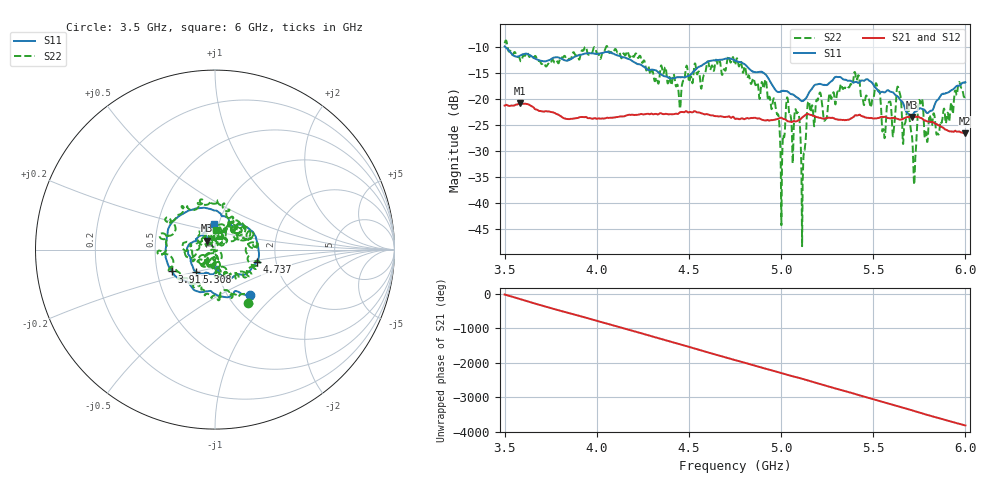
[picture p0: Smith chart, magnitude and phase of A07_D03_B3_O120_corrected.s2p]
! Created with skrf 1.9.0 (http://scikit-rf.org).
# Hz S RI R 50.0
!freq ReS11 ImS11 ReS21 ImS21 ReS12 ImS12 ReS22 ImS22
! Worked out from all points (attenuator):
!   1601 points, 3.5 GHz to 6 GHz, reference 50 ohm
!   highest |S21| = -20.82 dB at 3.584 GHz (marker M1); lowest = -26.6 dB at 5.995 GHz (marker M2)
!   lowest |S11| = -23.5 dB at 5.708 GHz (marker M3), VSWR 1.14, Z = 45.4 + j4.49 ohm
!   |S11| at or under -10 dB: 3.506 GHz to end of sweep
!   |S22| runs from -48.4 to -8.7 dB; largest |S21 - S12| = 0.001
!   S11 on the Smith chart (normalised r, x): 3.5 GHz: 1.26, -0.72; 3.917 GHz: 0.60, -0.16; 4.737 GHz: 1.58, -0.23; 5.308 GHz: 0.79, -0.20; 6 GHz: 0.94, +0.28
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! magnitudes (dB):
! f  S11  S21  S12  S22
! 3.5 GHz  -9.8  -21.2  -21.2  -9.2
! 3.584 GHz  -11.6  -20.8  -20.8  -12.5
! 3.917 GHz  -11.4  -23.4  -23.4  -10.7
! 4.334 GHz  -14.9  -22.9  -22.9  -17.0
! 4.737 GHz  -12.4  -23.4  -23.5  -11.9
! 4.75 GHz  -12.5  -23.8  -23.7  -13.4
! 4.911 GHz  -15.1  -24.1  -24.1  -16.9
! 5.006 GHz  -18.4  -23.7  -23.6  -30.6
! 5.039 GHz  -18.6  -24.3  -24.2  -20.8
! 5.091 GHz  -19.8  -24.1  -24.1  -22.6
! 5.12 GHz  -20.3  -23.4  -23.3  -32.2
! 5.167 GHz  -18.0  -23.1  -23.1  -21.2
! 5.308 GHz  -15.7  -23.9  -23.9  -18.5
! 5.558 GHz  -18.7  -23.4  -23.4  -26.2
! 5.584 GHz  -18.4  -23.6  -23.6  -20.5
! 5.639 GHz  -19.7  -23.9  -23.9  -18.2
! 5.708 GHz  -23.5  -23.5  -23.4  -26.5
! 5.725 GHz  -22.5  -23.4  -23.4  -34.5
! 5.756 GHz  -21.8  -23.6  -23.6  -20.8
! 5.787 GHz  -22.5  -24.2  -24.2  -26.5
! 5.995 GHz  -16.8  -26.6  -26.5  -19.6
! 6 GHz  -16.7  -26.6  -26.5  -19.4
